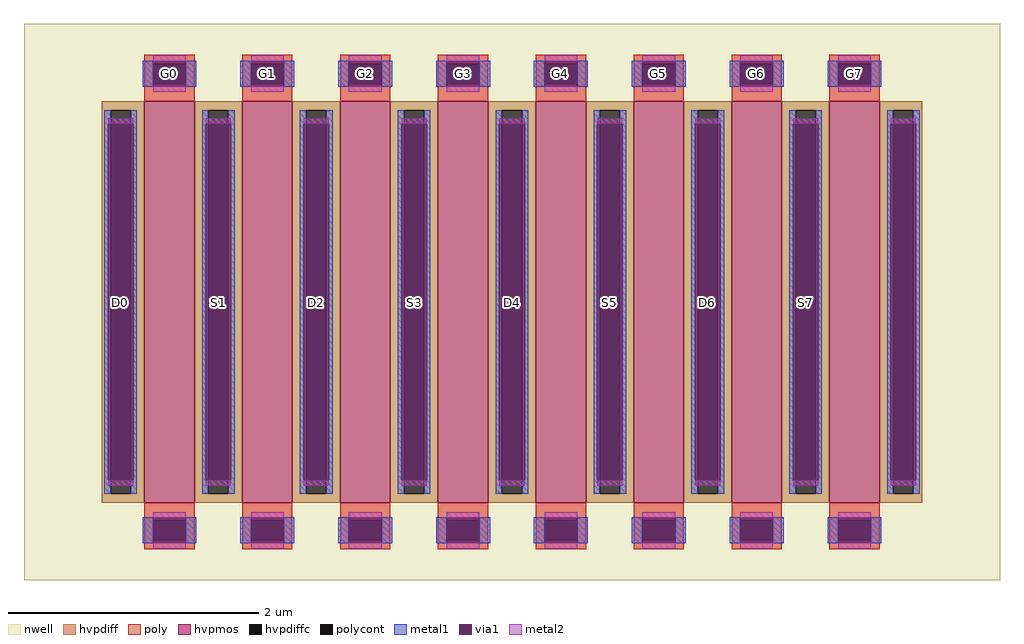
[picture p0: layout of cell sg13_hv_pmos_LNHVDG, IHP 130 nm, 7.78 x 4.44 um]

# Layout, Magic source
magic
tech ihp-sg13cmos5l
magscale 1 2
<< nwell >>
rect -778 -444 778 444
<< hvpmos >>
rect -586 -320 -506 320
rect -430 -320 -350 320
rect -274 -320 -194 320
rect -118 -320 -38 320
rect 38 -320 118 320
rect 194 -320 274 320
rect 350 -320 430 320
rect 506 -320 586 320
<< hvpdiff >>
rect -654 306 -586 320
rect -654 -306 -640 306
rect -608 -306 -586 306
rect -654 -320 -586 -306
rect -506 306 -430 320
rect -506 -306 -484 306
rect -452 -306 -430 306
rect -506 -320 -430 -306
rect -350 306 -274 320
rect -350 -306 -328 306
rect -296 -306 -274 306
rect -350 -320 -274 -306
rect -194 306 -118 320
rect -194 -306 -172 306
rect -140 -306 -118 306
rect -194 -320 -118 -306
rect -38 306 38 320
rect -38 -306 -16 306
rect 16 -306 38 306
rect -38 -320 38 -306
rect 118 306 194 320
rect 118 -306 140 306
rect 172 -306 194 306
rect 118 -320 194 -306
rect 274 306 350 320
rect 274 -306 296 306
rect 328 -306 350 306
rect 274 -320 350 -306
rect 430 306 506 320
rect 430 -306 452 306
rect 484 -306 506 306
rect 430 -320 506 -306
rect 586 306 654 320
rect 586 -306 608 306
rect 640 -306 654 306
rect 586 -320 654 -306
<< hvpdiffc >>
rect -640 -306 -608 306
rect -484 -306 -452 306
rect -328 -306 -296 306
rect -172 -306 -140 306
rect -16 -306 16 306
rect 140 -306 172 306
rect 296 -306 328 306
rect 452 -306 484 306
rect 608 -306 640 306
<< poly >>
rect -586 380 -506 394
rect -586 348 -572 380
rect -520 348 -506 380
rect -586 320 -506 348
rect -430 380 -350 394
rect -430 348 -416 380
rect -364 348 -350 380
rect -430 320 -350 348
rect -274 380 -194 394
rect -274 348 -260 380
rect -208 348 -194 380
rect -274 320 -194 348
rect -118 380 -38 394
rect -118 348 -104 380
rect -52 348 -38 380
rect -118 320 -38 348
rect 38 380 118 394
rect 38 348 52 380
rect 104 348 118 380
rect 38 320 118 348
rect 194 380 274 394
rect 194 348 208 380
rect 260 348 274 380
rect 194 320 274 348
rect 350 380 430 394
rect 350 348 364 380
rect 416 348 430 380
rect 350 320 430 348
rect 506 380 586 394
rect 506 348 520 380
rect 572 348 586 380
rect 506 320 586 348
rect -586 -348 -506 -320
rect -586 -380 -572 -348
rect -520 -380 -506 -348
rect -586 -394 -506 -380
rect -430 -348 -350 -320
rect -430 -380 -416 -348
rect -364 -380 -350 -348
rect -430 -394 -350 -380
rect -274 -348 -194 -320
rect -274 -380 -260 -348
rect -208 -380 -194 -348
rect -274 -394 -194 -380
rect -118 -348 -38 -320
rect -118 -380 -104 -348
rect -52 -380 -38 -348
rect -118 -394 -38 -380
rect 38 -348 118 -320
rect 38 -380 52 -348
rect 104 -380 118 -348
rect 38 -394 118 -380
rect 194 -348 274 -320
rect 194 -380 208 -348
rect 260 -380 274 -348
rect 194 -394 274 -380
rect 350 -348 430 -320
rect 350 -380 364 -348
rect 416 -380 430 -348
rect 350 -394 430 -380
rect 506 -348 586 -320
rect 506 -380 520 -348
rect 572 -380 586 -348
rect 506 -394 586 -380
<< polycont >>
rect -572 348 -520 380
rect -416 348 -364 380
rect -260 348 -208 380
rect -104 348 -52 380
rect 52 348 104 380
rect 208 348 260 380
rect 364 348 416 380
rect 520 348 572 380
rect -572 -380 -520 -348
rect -416 -380 -364 -348
rect -260 -380 -208 -348
rect -104 -380 -52 -348
rect 52 -380 104 -348
rect 208 -380 260 -348
rect 364 -380 416 -348
rect 520 -380 572 -348
<< metal1 >>
rect -589 384 -503 385
rect -589 344 -572 384
rect -520 344 -503 384
rect -589 343 -503 344
rect -433 384 -347 385
rect -433 344 -416 384
rect -364 344 -347 384
rect -433 343 -347 344
rect -277 384 -191 385
rect -277 344 -260 384
rect -208 344 -191 384
rect -277 343 -191 344
rect -121 384 -35 385
rect -121 344 -104 384
rect -52 344 -35 384
rect -121 343 -35 344
rect 35 384 121 385
rect 35 344 52 384
rect 104 344 121 384
rect 35 343 121 344
rect 191 384 277 385
rect 191 344 208 384
rect 260 344 277 384
rect 191 343 277 344
rect 347 384 433 385
rect 347 344 364 384
rect 416 344 433 384
rect 347 343 433 344
rect 503 384 589 385
rect 503 344 520 384
rect 572 344 589 384
rect 503 343 589 344
rect -650 284 -640 306
rect -608 284 -598 306
rect -650 -284 -644 284
rect -604 -284 -598 284
rect -650 -306 -640 -284
rect -608 -306 -598 -284
rect -494 284 -484 306
rect -452 284 -442 306
rect -494 -284 -488 284
rect -448 -284 -442 284
rect -494 -306 -484 -284
rect -452 -306 -442 -284
rect -338 284 -328 306
rect -296 284 -286 306
rect -338 -284 -332 284
rect -292 -284 -286 284
rect -338 -306 -328 -284
rect -296 -306 -286 -284
rect -182 284 -172 306
rect -140 284 -130 306
rect -182 -284 -176 284
rect -136 -284 -130 284
rect -182 -306 -172 -284
rect -140 -306 -130 -284
rect -26 284 -16 306
rect 16 284 26 306
rect -26 -284 -20 284
rect 20 -284 26 284
rect -26 -306 -16 -284
rect 16 -306 26 -284
rect 130 284 140 306
rect 172 284 182 306
rect 130 -284 136 284
rect 176 -284 182 284
rect 130 -306 140 -284
rect 172 -306 182 -284
rect 286 284 296 306
rect 328 284 338 306
rect 286 -284 292 284
rect 332 -284 338 284
rect 286 -306 296 -284
rect 328 -306 338 -284
rect 442 284 452 306
rect 484 284 494 306
rect 442 -284 448 284
rect 488 -284 494 284
rect 442 -306 452 -284
rect 484 -306 494 -284
rect 598 284 608 306
rect 640 284 650 306
rect 598 -284 604 284
rect 644 -284 650 284
rect 598 -306 608 -284
rect 640 -306 650 -284
rect -589 -344 -503 -343
rect -589 -384 -572 -344
rect -520 -384 -503 -344
rect -589 -385 -503 -384
rect -433 -344 -347 -343
rect -433 -384 -416 -344
rect -364 -384 -347 -344
rect -433 -385 -347 -384
rect -277 -344 -191 -343
rect -277 -384 -260 -344
rect -208 -384 -191 -344
rect -277 -385 -191 -384
rect -121 -344 -35 -343
rect -121 -384 -104 -344
rect -52 -384 -35 -344
rect -121 -385 -35 -384
rect 35 -344 121 -343
rect 35 -384 52 -344
rect 104 -384 121 -344
rect 35 -385 121 -384
rect 191 -344 277 -343
rect 191 -384 208 -344
rect 260 -384 277 -344
rect 191 -385 277 -384
rect 347 -344 433 -343
rect 347 -384 364 -344
rect 416 -384 433 -344
rect 347 -385 433 -384
rect 503 -344 589 -343
rect 503 -384 520 -344
rect 572 -384 589 -344
rect 503 -385 589 -384
<< via1 >>
rect -572 380 -520 384
rect -572 348 -520 380
rect -572 344 -520 348
rect -416 380 -364 384
rect -416 348 -364 380
rect -416 344 -364 348
rect -260 380 -208 384
rect -260 348 -208 380
rect -260 344 -208 348
rect -104 380 -52 384
rect -104 348 -52 380
rect -104 344 -52 348
rect 52 380 104 384
rect 52 348 104 380
rect 52 344 104 348
rect 208 380 260 384
rect 208 348 260 380
rect 208 344 260 348
rect 364 380 416 384
rect 364 348 416 380
rect 364 344 416 348
rect 520 380 572 384
rect 520 348 572 380
rect 520 344 572 348
rect -644 -284 -640 284
rect -640 -284 -608 284
rect -608 -284 -604 284
rect -488 -284 -484 284
rect -484 -284 -452 284
rect -452 -284 -448 284
rect -332 -284 -328 284
rect -328 -284 -296 284
rect -296 -284 -292 284
rect -176 -284 -172 284
rect -172 -284 -140 284
rect -140 -284 -136 284
rect -20 -284 -16 284
rect -16 -284 16 284
rect 16 -284 20 284
rect 136 -284 140 284
rect 140 -284 172 284
rect 172 -284 176 284
rect 292 -284 296 284
rect 296 -284 328 284
rect 328 -284 332 284
rect 448 -284 452 284
rect 452 -284 484 284
rect 484 -284 488 284
rect 604 -284 608 284
rect 608 -284 640 284
rect 640 -284 644 284
rect -572 -348 -520 -344
rect -572 -380 -520 -348
rect -572 -384 -520 -380
rect -416 -348 -364 -344
rect -416 -380 -364 -348
rect -416 -384 -364 -380
rect -260 -348 -208 -344
rect -260 -380 -208 -348
rect -260 -384 -208 -380
rect -104 -348 -52 -344
rect -104 -380 -52 -348
rect -104 -384 -52 -380
rect 52 -348 104 -344
rect 52 -380 104 -348
rect 52 -384 104 -380
rect 208 -348 260 -344
rect 208 -380 260 -348
rect 208 -384 260 -380
rect 364 -348 416 -344
rect 364 -380 416 -348
rect 364 -384 416 -380
rect 520 -348 572 -344
rect 520 -380 572 -348
rect 520 -384 572 -380
<< metal2 >>
rect -572 384 -520 393
rect -572 335 -520 344
rect -416 384 -364 393
rect -416 335 -364 344
rect -260 384 -208 393
rect -260 335 -208 344
rect -104 384 -52 393
rect -104 335 -52 344
rect 52 384 104 393
rect 52 335 104 344
rect 208 384 260 393
rect 208 335 260 344
rect 364 384 416 393
rect 364 335 416 344
rect 520 384 572 393
rect 520 335 572 344
rect -644 284 -604 293
rect -644 -293 -604 -284
rect -488 284 -448 293
rect -488 -293 -448 -284
rect -332 284 -292 293
rect -332 -293 -292 -284
rect -176 284 -136 293
rect -176 -293 -136 -284
rect -20 284 20 293
rect -20 -293 20 -284
rect 136 284 176 293
rect 136 -293 176 -284
rect 292 284 332 293
rect 292 -293 332 -284
rect 448 284 488 293
rect 448 -293 488 -284
rect 604 284 644 293
rect 604 -293 644 -284
rect -572 -344 -520 -335
rect -572 -393 -520 -384
rect -416 -344 -364 -335
rect -416 -393 -364 -384
rect -260 -344 -208 -335
rect -260 -393 -208 -384
rect -104 -344 -52 -335
rect -104 -393 -52 -384
rect 52 -344 104 -335
rect 52 -393 104 -384
rect 208 -344 260 -335
rect 208 -393 260 -384
rect 364 -344 416 -335
rect 364 -393 416 -384
rect 520 -344 572 -335
rect 520 -393 572 -384
<< labels >>
rlabel hvpdiffc -624 0 -624 0 0 D0
port 49 nsew
rlabel polycont -546 364 -546 364 0 G0
port 50 nsew
rlabel hvpdiffc -468 0 -468 0 0 S1
port 51 nsew
rlabel polycont -390 364 -390 364 0 G1
port 52 nsew
rlabel hvpdiffc -312 0 -312 0 0 D2
port 53 nsew
rlabel polycont -234 364 -234 364 0 G2
port 54 nsew
rlabel hvpdiffc -156 0 -156 0 0 S3
port 55 nsew
rlabel polycont -78 364 -78 364 0 G3
port 56 nsew
rlabel hvpdiffc 0 0 0 0 0 D4
port 57 nsew
rlabel polycont 78 364 78 364 0 G4
port 58 nsew
rlabel hvpdiffc 156 0 156 0 0 S5
port 59 nsew
rlabel polycont 234 364 234 364 0 G5
port 60 nsew
rlabel hvpdiffc 312 0 312 0 0 D6
port 61 nsew
rlabel polycont 390 364 390 364 0 G6
port 62 nsew
rlabel hvpdiffc 468 0 468 0 0 S7
port 63 nsew
rlabel polycont 546 364 546 364 0 G7
port 64 nsew
<< properties >>
string gencell sg13_hv_pmos
string library sg13cmos5l
string parameters w 3.2 l 0.4 m 1 ng 8 diffcov 100 polycov 100 guard 0 glc 1 grc 1 gtc 1 gbc 1 tbcov 100 rlcov 100 topc 1 botc 1 poverlap 0 doverlap 1 lmin 0.4 wmin 0.15 class mosfet compatible {sg13_lv_pmos sg13_hv_pmos} full_metal 1 conn_gates 0 gate_ring 0 ccols 1 viasrc 100 viadrn 100 viagate 100 viagb 0 viagr 0 viagl 0 viagt 0 doports 1
<< end >>
